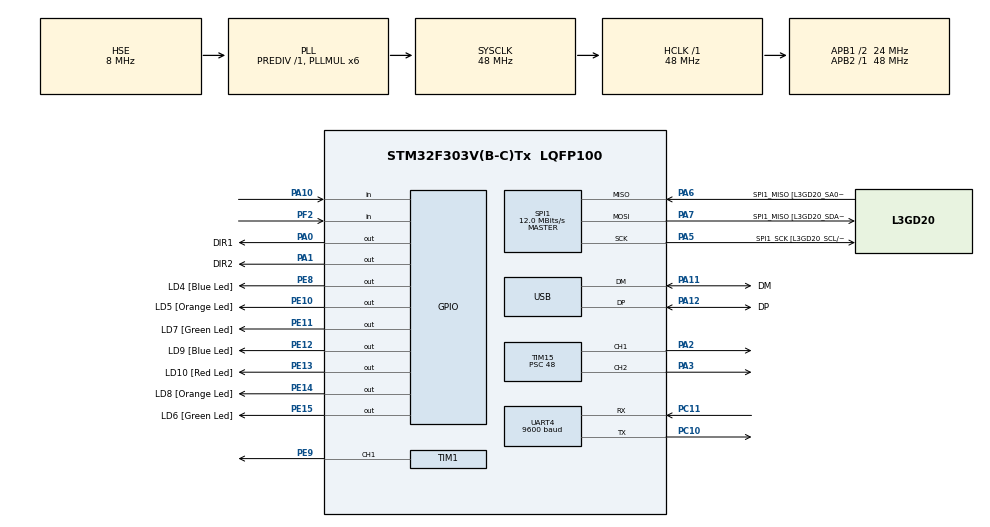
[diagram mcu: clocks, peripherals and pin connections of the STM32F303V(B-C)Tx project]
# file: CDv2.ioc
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Mcu.Family=STM32F3
Mcu.Name=STM32F303V(B-C)Tx
Mcu.Package=LQFP100
NVIC.PriorityGroup=NVIC_PRIORITYGROUP_2
NVIC.TIM1_BRK_TIM15_IRQn=true\:0\:0\:true\:false\:true\:true\:true\:true
NVIC.UART4_IRQn=true\:1\:1\:true\:false\:true\:true\:true\:true
PA0.GPIO_Label=DIR1
PA0.GPIO_PuPd=GPIO_PULLUP
PA0.Signal=GPIO_Output
PA1.GPIO_Label=DIR2 
PA1.Signal=GPIO_Output
PA10.GPIO_PuPd=GPIO_PULLUP
PA10.Signal=GPIO_Input
PA11.GPIO_Label=DM
PA11.Mode=Device
PA11.Signal=USB_DM
PA12.GPIO_Label=DP
PA12.Mode=Device
PA12.Signal=USB_DP
PA13.GPIO_Label=SWDIO
PA13.Mode=Serial_Wire
PA13.Signal=SYS_JTMS-SWDIO
PA14.GPIO_Label=SWCLK
PA14.Mode=Serial_Wire
PA14.Signal=SYS_JTCK-SWCLK
PA2.Signal=S_TIM15_CH1
PA3.Signal=S_TIM15_CH2
PA5.GPIO_Label=SPI1_SCK [L3GD20_SCL/SPC]
PA5.Mode=Full_Duplex_Master
PA5.Signal=SPI1_SCK
PA6.GPIO_Label=SPI1_MISO [L3GD20_SA0/SDO]
PA6.Mode=Full_Duplex_Master
PA6.Signal=SPI1_MISO
PA7.GPIO_Label=SPI1_MISO [L3GD20_SDA/SDI/SDO]
PA7.Mode=Full_Duplex_Master
PA7.Signal=SPI1_MOSI
PC10.Mode=Asynchronous
PC10.Signal=UART4_TX
PC11.Mode=Asynchronous
PC11.Signal=UART4_RX
PC14-OSC32_IN.Mode=LSE-External-Oscillator
PC14-OSC32_IN.Signal=RCC_OSC32_IN
PC15-OSC32_OUT.Mode=LSE-External-Oscillator
PC15-OSC32_OUT.Signal=RCC_OSC32_OUT
PE10.GPIO_Label=LD5 [Orange Led]
PE10.Signal=GPIO_Output
PE11.GPIO_Label=LD7 [Green Led]
PE11.Signal=GPIO_Output
PE12.GPIO_Label=LD9 [Blue Led]
PE12.Signal=GPIO_Output
PE13.GPIO_Label=LD10 [Red Led]
PE13.Signal=GPIO_Output
PE14.GPIO_Label=LD8 [Orange Led]
PE14.Signal=GPIO_Output
PE15.GPIO_Label=LD6 [Green Led]
PE15.Signal=GPIO_Output
PE8.GPIO_Label=LD4 [Blue Led]
PE8.Signal=GPIO_Output
PE9.Signal=S_TIM1_CH1
PF0-OSC_IN.GPIO_Label=OSC_IN
PF0-OSC_IN.Mode=HSE-External-Oscillator
PF0-OSC_IN.Signal=RCC_OSC_IN
PF1-OSC_OUT.Mode=HSE-External-Oscillator
PF1-OSC_OUT.Signal=RCC_OSC_OUT
PF2.GPIO_PuPd=GPIO_PULLUP
PF2.Signal=GPIO_Input
ProjectManager.HeapSize=0x200
ProjectManager.StackSize=0x400
ProjectManager.TargetToolchain=STM32CubeIDE
RCC.AHBFreq_Value=48000000
RCC.APB1CLKDivider=RCC_HCLK_DIV2
RCC.APB1Freq_Value=24000000
RCC.APB1TimFreq_Value=48000000
RCC.APB2Freq_Value=48000000
RCC.APB2TimFreq_Value=48000000
RCC.CortexFreq_Value=48000000
RCC.HCLKFreq_Value=48000000
RCC.HSE_VALUE=8000000
RCC.HSI_VALUE=8000000
RCC.PLLMUL=RCC_PLL_MUL6
RCC.SYSCLKFreq_VALUE=48000000
RCC.SYSCLKSourceVirtual=RCC_SYSCLKSOURCE_PLLCLK
RCC.USBFreq_Value=48000000
SH.S_TIM15_CH1.0=TIM15_CH1,PWM Generation1 CH1
SH.S_TIM15_CH2.0=TIM15_CH2,PWM Generation2 CH2
SH.S_TIM1_CH1.0=TIM1_CH1,PWM Generation1 CH1
SPI1.BaudRatePrescaler=SPI_BAUDRATEPRESCALER_4
SPI1.BaudRatePrescaler-Full_Duplex_Master=SPI_BAUDRATEPRESCALER_2
SPI1.CalculateBaudRate=12.0 MBits/s
SPI1.CalculateBaudRate-Full_Duplex_Master=24.0 MBits/s
SPI1.Direction=SPI_DIRECTION_2LINES
SPI1.Mode=SPI_MODE_MASTER
SPI1.Mode-Full_Duplex_Master=SPI_MODE_MASTER
SPI1.VirtualType=VM_MASTER
TIM1.Channel-PWM\ Generation1\ CH1=TIM_CHANNEL_1
TIM1.OCMode_PWM-PWM\ Generation1\ CH1=TIM_OCMODE_PWM2
TIM15.Channel-PWM\ Generation1\ CH1=TIM_CHANNEL_1
TIM15.Channel-PWM\ Generation2\ CH2=TIM_CHANNEL_2
TIM15.Prescaler=48
UART4.BaudRate=9600
board=STM32F3DISCOVERY

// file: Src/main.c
/* USER CODE BEGIN Header */
/**
  ******************************************************************************
  * @file           : main.c
  * @brief          : Main program body
  ******************************************************************************
  * @attention
  *
  * Copyright (c) 2026 STMicroelectronics.
  * All rights reserved.
  *
  * This software is licensed under terms that can be found in the LICENSE file
  * in the root directory of this software component.
  * If no LICENSE file comes with this software, it is provided AS-IS.
  *
  ******************************************************************************
  */
/* USER CODE END Header */
#include "main.h"

/* USER CODE BEGIN PD */
#define X 1
#define Y 0
#define pos 0
#define neg 1
/* USER CODE END PD */

SPI_HandleTypeDef hspi1;

TIM_HandleTypeDef htim1;
TIM_HandleTypeDef htim15;

UART_HandleTypeDef huart4;

PCD_HandleTypeDef hpcd_USB_FS;

void SystemClock_Config(void);
static void MX_GPIO_Init(void);
static void MX_SPI1_Init(void);
static void MX_USB_PCD_Init(void);
static void MX_TIM1_Init(void);
static void MX_TIM15_Init(void);
static void MX_UART4_Init(void);

/* USER CODE BEGIN 0 */
cmd_uart RS485_TRANSMITTER ={0};
uint8_t rx_buffer;
uint16_t crc;
station station_struct = {0};
uint8_t newline_char = '\n';

uint16_t SP = 0;
uint16_t acs_dist = 0;
uint16_t StartSpeed_count = 0;
uint16_t Delta_count = 0;
uint32_t step_counter = 0;
uint8_t dist_x = 0;
uint8_t dist_y = 0;
uint16_t crc_check = 0;
uint16_t crc_test;
/* USER CODE END 0 */

int main(void)
{

  /* MCU Configuration--------------------------------------------------------*/

  /* Reset of all peripherals, Initializes the Flash interface and the Systick. */
  HAL_Init();

  /* Configure the system clock */
  SystemClock_Config();

  /* Initialize all configured peripherals */
  MX_GPIO_Init();
  MX_SPI1_Init();
  MX_USB_PCD_Init();
  MX_TIM1_Init();
  MX_TIM15_Init();
  MX_UART4_Init();
  /* USER CODE BEGIN 2 */
  TIM15->BDTR |= TIM_BDTR_MOE;
  HAL_TIM_PWM_Stop_IT(&htim15, TIM_CHANNEL_1);    // останавливаем ШИМ по каналу 1
  HAL_TIM_PWM_Stop_IT(&htim15, TIM_CHANNEL_2);    // останавливаем ШИМ по каналу 2
  HAL_UART_Receive_IT(&huart4, &rx_buffer, 1); // включаем прерывания
  HAL_TIM_Base_Stop_IT(&htim15);				   // остановка таймера
  //HAL_NVIC_SetPriority(TIM1_BRK_TIM15_IRQn, 1, 0); // Достаточно высокий приоритет
  //HAL_NVIC_EnableIRQ(TIM1_BRK_TIM15_IRQn);
  /* USER CODE END 2 */

  /* Infinite loop */
  while (1)
  {
  }
}

void SystemClock_Config(void)
{
  RCC_OscInitTypeDef RCC_OscInitStruct = {0};
  RCC_ClkInitTypeDef RCC_ClkInitStruct = {0};
  RCC_PeriphCLKInitTypeDef PeriphClkInit = {0};

  /** Initializes the RCC Oscillators according to the specified parameters
  * in the RCC_OscInitTypeDef structure.
  */
  RCC_OscInitStruct.OscillatorType = RCC_OSCILLATORTYPE_HSE;
  RCC_OscInitStruct.HSEState = RCC_HSE_ON;
  RCC_OscInitStruct.HSEPredivValue = RCC_HSE_PREDIV_DIV1;
  RCC_OscInitStruct.HSIState = RCC_HSI_ON;
  RCC_OscInitStruct.PLL.PLLState = RCC_PLL_ON;
  RCC_OscInitStruct.PLL.PLLSource = RCC_PLLSOURCE_HSE;
  RCC_OscInitStruct.PLL.PLLMUL = RCC_PLL_MUL6;
  if (HAL_RCC_OscConfig(&RCC_OscInitStruct) != HAL_OK)
  {
    Error_Handler();
  }

  /** Initializes the CPU, AHB and APB buses clocks
  */
  RCC_ClkInitStruct.ClockType = RCC_CLOCKTYPE_HCLK|RCC_CLOCKTYPE_SYSCLK
                              |RCC_CLOCKTYPE_PCLK1|RCC_CLOCKTYPE_PCLK2;
  RCC_ClkInitStruct.SYSCLKSource = RCC_SYSCLKSOURCE_PLLCLK;
  RCC_ClkInitStruct.AHBCLKDivider = RCC_SYSCLK_DIV1;
  RCC_ClkInitStruct.APB1CLKDivider = RCC_HCLK_DIV2;
  RCC_ClkInitStruct.APB2CLKDivider = RCC_HCLK_DIV1;

  if (HAL_RCC_ClockConfig(&RCC_ClkInitStruct, FLASH_LATENCY_1) != HAL_OK)
  {
    Error_Handler();
  }
  PeriphClkInit.PeriphClockSelection = RCC_PERIPHCLK_USB|RCC_PERIPHCLK_UART4
                              |RCC_PERIPHCLK_TIM1;
  PeriphClkInit.Uart4ClockSelection = RCC_UART4CLKSOURCE_PCLK1;
  PeriphClkInit.USBClockSelection = RCC_USBCLKSOURCE_PLL;
  PeriphClkInit.Tim1ClockSelection = RCC_TIM1CLK_HCLK;
  if (HAL_RCCEx_PeriphCLKConfig(&PeriphClkInit) != HAL_OK)
  {
    Error_Handler();
  }
}

static void MX_SPI1_Init(void)
{

  /* SPI1 parameter configuration*/
  hspi1.Instance = SPI1;
  hspi1.Init.Mode = SPI_MODE_MASTER;
  hspi1.Init.Direction = SPI_DIRECTION_2LINES;
  hspi1.Init.DataSize = SPI_DATASIZE_4BIT;
  hspi1.Init.CLKPolarity = SPI_POLARITY_LOW;
  hspi1.Init.CLKPhase = SPI_PHASE_1EDGE;
  hspi1.Init.NSS = SPI_NSS_SOFT;
  hspi1.Init.BaudRatePrescaler = SPI_BAUDRATEPRESCALER_4;
  hspi1.Init.FirstBit = SPI_FIRSTBIT_MSB;
  hspi1.Init.TIMode = SPI_TIMODE_DISABLE;
  hspi1.Init.CRCCalculation = SPI_CRCCALCULATION_DISABLE;
  hspi1.Init.CRCPolynomial = 7;
  hspi1.Init.CRCLength = SPI_CRC_LENGTH_DATASIZE;
  hspi1.Init.NSSPMode = SPI_NSS_PULSE_ENABLE;
  if (HAL_SPI_Init(&hspi1) != HAL_OK)
  {
    Error_Handler();
  }

}

static void MX_TIM1_Init(void)
{

  TIM_MasterConfigTypeDef sMasterConfig = {0};
  TIM_OC_InitTypeDef sConfigOC = {0};
  TIM_BreakDeadTimeConfigTypeDef sBreakDeadTimeConfig = {0};

  htim1.Instance = TIM1;
  htim1.Init.Prescaler = 0;
  htim1.Init.CounterMode = TIM_COUNTERMODE_UP;
  htim1.Init.Period = 65535;
  htim1.Init.ClockDivision = TIM_CLOCKDIVISION_DIV1;
  htim1.Init.RepetitionCounter = 0;
  htim1.Init.AutoReloadPreload = TIM_AUTORELOAD_PRELOAD_DISABLE;
  if (HAL_TIM_PWM_Init(&htim1) != HAL_OK)
  {
    Error_Handler();
  }
  sMasterConfig.MasterOutputTrigger = TIM_TRGO_RESET;
  sMasterConfig.MasterOutputTrigger2 = TIM_TRGO2_RESET;
  sMasterConfig.MasterSlaveMode = TIM_MASTERSLAVEMODE_DISABLE;
  if (HAL_TIMEx_MasterConfigSynchronization(&htim1, &sMasterConfig) != HAL_OK)
  {
    Error_Handler();
  }
  sConfigOC.OCMode = TIM_OCMODE_PWM2;
  sConfigOC.Pulse = 0;
  sConfigOC.OCPolarity = TIM_OCPOLARITY_HIGH;
  sConfigOC.OCNPolarity = TIM_OCNPOLARITY_HIGH;
  sConfigOC.OCFastMode = TIM_OCFAST_DISABLE;
  sConfigOC.OCIdleState = TIM_OCIDLESTATE_RESET;
  sConfigOC.OCNIdleState = TIM_OCNIDLESTATE_RESET;
  if (HAL_TIM_PWM_ConfigChannel(&htim1, &sConfigOC, TIM_CHANNEL_1) != HAL_OK)
  {
    Error_Handler();
  }
  sBreakDeadTimeConfig.OffStateRunMode = TIM_OSSR_DISABLE;
  sBreakDeadTimeConfig.OffStateIDLEMode = TIM_OSSI_DISABLE;
  sBreakDeadTimeConfig.LockLevel = TIM_LOCKLEVEL_OFF;
  sBreakDeadTimeConfig.DeadTime = 0;
  sBreakDeadTimeConfig.BreakState = TIM_BREAK_DISABLE;
  sBreakDeadTimeConfig.BreakPolarity = TIM_BREAKPOLARITY_HIGH;
  sBreakDeadTimeConfig.BreakFilter = 0;
  sBreakDeadTimeConfig.Break2State = TIM_BREAK2_DISABLE;
  sBreakDeadTimeConfig.Break2Polarity = TIM_BREAK2POLARITY_HIGH;
  sBreakDeadTimeConfig.Break2Filter = 0;
  sBreakDeadTimeConfig.AutomaticOutput = TIM_AUTOMATICOUTPUT_DISABLE;
  if (HAL_TIMEx_ConfigBreakDeadTime(&htim1, &sBreakDeadTimeConfig) != HAL_OK)
  {
    Error_Handler();
  }
  HAL_TIM_MspPostInit(&htim1);

}

static void MX_TIM15_Init(void)
{

  TIM_MasterConfigTypeDef sMasterConfig = {0};
  TIM_OC_InitTypeDef sConfigOC = {0};
  TIM_BreakDeadTimeConfigTypeDef sBreakDeadTimeConfig = {0};

  htim15.Instance = TIM15;
  htim15.Init.Prescaler = 48;
  htim15.Init.CounterMode = TIM_COUNTERMODE_UP;
  htim15.Init.Period = 65535;
  htim15.Init.ClockDivision = TIM_CLOCKDIVISION_DIV1;
  htim15.Init.RepetitionCounter = 0;
  htim15.Init.AutoReloadPreload = TIM_AUTORELOAD_PRELOAD_DISABLE;
  if (HAL_TIM_PWM_Init(&htim15) != HAL_OK)
  {
    Error_Handler();
  }
  sMasterConfig.MasterOutputTrigger = TIM_TRGO_RESET;
  sMasterConfig.MasterSlaveMode = TIM_MASTERSLAVEMODE_DISABLE;
  if (HAL_TIMEx_MasterConfigSynchronization(&htim15, &sMasterConfig) != HAL_OK)
  {
    Error_Handler();
  }
  sConfigOC.OCMode = TIM_OCMODE_PWM1;
  sConfigOC.Pulse = 0;
  sConfigOC.OCPolarity = TIM_OCPOLARITY_HIGH;
  sConfigOC.OCNPolarity = TIM_OCNPOLARITY_HIGH;
  sConfigOC.OCFastMode = TIM_OCFAST_DISABLE;
  sConfigOC.OCIdleState = TIM_OCIDLESTATE_RESET;
  sConfigOC.OCNIdleState = TIM_OCNIDLESTATE_RESET;
  if (HAL_TIM_PWM_ConfigChannel(&htim15, &sConfigOC, TIM_CHANNEL_1) != HAL_OK)
  {
    Error_Handler();
  }
  if (HAL_TIM_PWM_ConfigChannel(&htim15, &sConfigOC, TIM_CHANNEL_2) != HAL_OK)
  {
    Error_Handler();
  }
  sBreakDeadTimeConfig.OffStateRunMode = TIM_OSSR_DISABLE;
  sBreakDeadTimeConfig.OffStateIDLEMode = TIM_OSSI_DISABLE;
  sBreakDeadTimeConfig.LockLevel = TIM_LOCKLEVEL_OFF;
  sBreakDeadTimeConfig.DeadTime = 0;
  sBreakDeadTimeConfig.BreakState = TIM_BREAK_DISABLE;
  sBreakDeadTimeConfig.BreakPolarity = TIM_BREAKPOLARITY_HIGH;
  sBreakDeadTimeConfig.BreakFilter = 0;
  sBreakDeadTimeConfig.AutomaticOutput = TIM_AUTOMATICOUTPUT_DISABLE;
  if (HAL_TIMEx_ConfigBreakDeadTime(&htim15, &sBreakDeadTimeConfig) != HAL_OK)
  {
    Error_Handler();
  }
  HAL_TIM_MspPostInit(&htim15);

}

static void MX_UART4_Init(void)
{

  huart4.Instance = UART4;
  huart4.Init.BaudRate = 9600;
  huart4.Init.WordLength = UART_WORDLENGTH_8B;
  huart4.Init.StopBits = UART_STOPBITS_1;
  huart4.Init.Parity = UART_PARITY_NONE;
  huart4.Init.Mode = UART_MODE_TX_RX;
  huart4.Init.HwFlowCtl = UART_HWCONTROL_NONE;
  huart4.Init.OverSampling = UART_OVERSAMPLING_16;
  huart4.Init.OneBitSampling = UART_ONE_BIT_SAMPLE_DISABLE;
  huart4.AdvancedInit.AdvFeatureInit = UART_ADVFEATURE_NO_INIT;
  if (HAL_UART_Init(&huart4) != HAL_OK)
  {
    Error_Handler();
  }

}

static void MX_USB_PCD_Init(void)
{

  hpcd_USB_FS.Instance = USB;
  hpcd_USB_FS.Init.dev_endpoints = 8;
  hpcd_USB_FS.Init.speed = PCD_SPEED_FULL;
  hpcd_USB_FS.Init.phy_itface = PCD_PHY_EMBEDDED;
  hpcd_USB_FS.Init.low_power_enable = DISABLE;
  hpcd_USB_FS.Init.battery_charging_enable = DISABLE;
  if (HAL_PCD_Init(&hpcd_USB_FS) != HAL_OK)
  {
    Error_Handler();
  }

}

static void MX_GPIO_Init(void)
{
  GPIO_InitTypeDef GPIO_InitStruct = {0};

  /* GPIO Ports Clock Enable */
  __HAL_RCC_GPIOC_CLK_ENABLE();
  __HAL_RCC_GPIOF_CLK_ENABLE();
  __HAL_RCC_GPIOA_CLK_ENABLE();
  __HAL_RCC_GPIOE_CLK_ENABLE();

  /*Configure GPIO pin Output Level */
  HAL_GPIO_WritePin(GPIOA, DIR1_Pin|DIR2_Pin, GPIO_PIN_RESET);

  /*Configure GPIO pin Output Level */
  HAL_GPIO_WritePin(GPIOE, LD4_Pin|LD5_Pin|LD7_Pin|LD9_Pin
                          |LD10_Pin|LD8_Pin|LD6_Pin, GPIO_PIN_RESET);

  /*Configure GPIO pin : PF2 */
  GPIO_InitStruct.Pin = GPIO_PIN_2;
  GPIO_InitStruct.Mode = GPIO_MODE_INPUT;
  GPIO_InitStruct.Pull = GPIO_PULLUP;
  HAL_GPIO_Init(GPIOF, &GPIO_InitStruct);

  /*Configure GPIO pin : DIR1_Pin */
  GPIO_InitStruct.Pin = DIR1_Pin;
  GPIO_InitStruct.Mode = GPIO_MODE_OUTPUT_PP;
  GPIO_InitStruct.Pull = GPIO_PULLUP;
  GPIO_InitStruct.Speed = GPIO_SPEED_FREQ_LOW;
  HAL_GPIO_Init(DIR1_GPIO_Port, &GPIO_InitStruct);

  /*Configure GPIO pin : DIR2_Pin */
  GPIO_InitStruct.Pin = DIR2_Pin;
  GPIO_InitStruct.Mode = GPIO_MODE_OUTPUT_PP;
  GPIO_InitStruct.Pull = GPIO_NOPULL;
  GPIO_InitStruct.Speed = GPIO_SPEED_FREQ_LOW;
  HAL_GPIO_Init(DIR2_GPIO_Port, &GPIO_InitStruct);

  /*Configure GPIO pins : LD4_Pin LD5_Pin LD7_Pin LD9_Pin
                           LD10_Pin LD8_Pin LD6_Pin */
  GPIO_InitStruct.Pin = LD4_Pin|LD5_Pin|LD7_Pin|LD9_Pin
                          |LD10_Pin|LD8_Pin|LD6_Pin;
  GPIO_InitStruct.Mode = GPIO_MODE_OUTPUT_PP;
  GPIO_InitStruct.Pull = GPIO_NOPULL;
  GPIO_InitStruct.Speed = GPIO_SPEED_FREQ_LOW;
  HAL_GPIO_Init(GPIOE, &GPIO_InitStruct);

  /*Configure GPIO pin : PA10 */
  GPIO_InitStruct.Pin = GPIO_PIN_10;
  GPIO_InitStruct.Mode = GPIO_MODE_INPUT;
  GPIO_InitStruct.Pull = GPIO_PULLUP;
  HAL_GPIO_Init(GPIOA, &GPIO_InitStruct);

}

/* USER CODE BEGIN 4 */
uint8_t direction(uint8_t axis /*0-x 1-y*/, uint8_t dir){
	if(axis == X && dir == pos){
		HAL_GPIO_WritePin(DIR1_GPIO_Port, DIR1_Pin, GPIO_PIN_SET);
		HAL_GPIO_WritePin(DIR2_GPIO_Port, DIR2_Pin, GPIO_PIN_SET);
	}
	if(axis == X && dir == neg){
		HAL_GPIO_WritePin(DIR1_GPIO_Port, DIR1_Pin, GPIO_PIN_RESET);
		HAL_GPIO_WritePin(DIR2_GPIO_Port, DIR2_Pin, GPIO_PIN_RESET);
	}
	if(axis == Y && dir == pos){
		HAL_GPIO_WritePin(DIR1_GPIO_Port, DIR1_Pin, GPIO_PIN_SET);
		HAL_GPIO_WritePin(DIR2_GPIO_Port, DIR2_Pin, GPIO_PIN_RESET);
	}
	if(axis == Y && dir == neg){
		HAL_GPIO_WritePin(DIR1_GPIO_Port, DIR1_Pin, GPIO_PIN_RESET);
		HAL_GPIO_WritePin(DIR2_GPIO_Port, DIR2_Pin, GPIO_PIN_SET);
	}
	return 1;
}

uint16_t CRC16_calc(uint8_t* data, size_t length) {
    uint16_t crc = 0xFFFF; // Начальное значение (может быть 0xFFFF)

    for (size_t i = 0; i < length; i++) {
        // XOR текущего байта со старшим байтом CRC
        crc ^= (uint16_t)data[i];

        // Обрабатываем каждый бит байта
        for (int bit = 0; bit < 8; bit++) {
            if (crc & 0x0001) {
                // Если младший бит = 1, сдвигаем и XOR с полиномом
                crc = (crc >> 1) ^ 0xA001;
            } else {
                // Иначе просто сдвигаем
                crc >>= 1;
            }
        }
    }

    return crc;
}

uint16_t crc16_update(uint16_t crc, uint8_t data)
{
    crc ^= data;
    for (int i = 0; i < 8; ++i)
    {
        if (crc & 1)
            crc = (crc >> 1) ^ 0xA001;  // полином для CRC-16/MODBUS
        else
            crc = (crc >> 1);
    }
    return crc;
}

uint16_t crc16_modbus(uint8_t *buf, uint32_t len)
{
    uint16_t crc = 0xFFFF;            // стартовое значение для MODBUS
    for (uint32_t i = 0; i < len; ++i)
    {
        crc = crc16_update(crc, buf[i]);
    }
    return crc;                       // результат: младший байт, затем старший
}

uint8_t DataRecive(cmd_uart* structure, uint8_t symbol){
	//прием байта адреса устройства
	structure->frame[structure->ccnt] = symbol;
	if (structure->ccnt == 0){
		structure->dev_addr = symbol;
	}
	//прием двух байт команды
	if (structure -> ccnt == 1){
		structure->cmd[0] = symbol;
	}
	if (structure -> ccnt == 2){
		structure->cmd[1] = symbol;
	}
	//прием двух байт адреса регистра
	if (structure -> ccnt == 3){
		structure-> reg[0] = symbol;
	}
	if (structure -> ccnt == 4){
		structure-> reg[1] = symbol;
	}
	//прием двух байт данных
	if (structure -> ccnt == 5){
		structure-> value[0] = symbol;
	}
	if (structure -> ccnt == 6){
		structure-> value[1] = symbol;
	}
	//прием CRC
	if (structure -> ccnt == 7){
		structure-> CRC16[0] = symbol;
	}
	if (structure -> ccnt == 8){
		structure-> CRC16[1] = symbol;
	}
	structure->ccnt++;
	if(structure->ccnt == 9) {
		structure->ccnt = 0;
		structure->data_update = 1;
	}
	return 1;
}
uint8_t proceed(station * station_structure, cmd_uart * RS485_structure){
	//uint8_t crc[2] = {0};
	if(RS485_structure->dev_addr == 52){
		if(RS485_structure ->cmd[0] == 0){ //проверяем первый 0
			if(RS485_structure ->cmd[1] == 1){ //запись
				if(RS485_structure->reg[0] == 0){ //проверяем, что первый 0 в адресе регистра
					switch(RS485_structure->reg[1]){
					case 1:
						station_structure->velocity = RS485_TRANSMITTER.value[1] + (RS485_TRANSMITTER.value[0] * 100);
						break;
					case 2:
						station_structure->time_acs = RS485_TRANSMITTER.value[1] + (RS485_TRANSMITTER.value[0] * 100);
						break;
					case 3:
						station_structure->axis = (RS485_TRANSMITTER.value[1]);
						station_structure->dir = (RS485_TRANSMITTER.value[0]);
						direction(station_structure->axis, station_structure->dir);
						break;
					case 4:
						step_counter = 0;
						TIM15 -> ARR  = 5000;
						TIM15 -> CCR1 = 2500;
						TIM15 -> CCR2 = 2500;
						station_structure-> x_home = 0;
						dist_x = 0;
						station_structure->status = 2;
						HAL_TIM_PWM_Start_IT(&htim15, TIM_CHANNEL_1);    // зайпускаем ШИМ по каналу 1
						HAL_TIM_PWM_Start_IT(&htim15, TIM_CHANNEL_2);    // зайпускаем ШИМ по каналу 2
						HAL_TIM_Base_Start_IT(&htim15);				  // Запускаем таймер
						break;
					case 5:
						step_counter = 0;
						TIM15 -> ARR  = 5000;
						TIM15 -> CCR1 = 2500;
						TIM15 -> CCR2 = 2500;
						station_structure-> y_home = 0;
						dist_y = 0;
						station_structure->status = 3;
						HAL_TIM_PWM_Start_IT(&htim15, TIM_CHANNEL_1);    // зайпускаем ШИМ по каналу 1
						HAL_TIM_PWM_Start_IT(&htim15, TIM_CHANNEL_2);    // зайпускаем ШИМ по каналу 2
						HAL_TIM_Base_Start_IT(&htim15);				  // Запускаем таймер
						break;
					case 6:
						HAL_TIM_PWM_Stop_IT(&htim15, TIM_CHANNEL_1);    // зайпускаем ШИМ по каналу 1
						HAL_TIM_PWM_Stop_IT(&htim15, TIM_CHANNEL_2);    // зайпускаем ШИМ по каналу 2
						HAL_TIM_Base_Stop_IT(&htim15);
						step_counter = 0;
						station_struct.status = 0;
						break;
					case 7:
						//ДВИЖЕНИЕ
						//Счетчик шагов
					    step_counter = 0;
					    if(RS485_structure->value[1] == 0){
					    	station_structure->status = 1;//движение с ускорением
					    }
					    if(RS485_structure->value[1] == 1){
					    	TIM15 -> ARR = 5000;
							TIM15 -> CCR1 = 2500;
							TIM15 -> CCR2 = 2500;
					    	station_structure->status = 4; //перемещение до кооридинаты
						}
					    if(RS485_structure->value[1] == 2){
							SP = 1000000/station_structure->velocity;//частота инкреммента / скорость
							//расчет ускорения
							//расстояние за время ускорения (шагов) - перевод в шагов в мс
							acs_dist = (station_structure->velocity*station_structure->time_acs)/2000; /* трапецивидный профиль /‾\ => получим на ускорении прямоугольный ипеугольник, тогда v*tacs/2 */
							//Расчитываем шаг скорости на один шаг двигателя
							StartSpeed_count = 5000;
							Delta_count = (StartSpeed_count - SP)/acs_dist + 1;
							station_structure->status = 5; //перемещение по алгоритму(меандр)
							station_structure->external_progress = 0;
							station_structure->internal_progress = 0;
							TIM15 -> ARR = 5000;
							TIM15 -> CCR1 = 2500;
							TIM15 -> CCR2 = 2500;
						}
						HAL_TIM_PWM_Start_IT(&htim15, TIM_CHANNEL_1);    // останавливаем ШИМ по каналу 1
						HAL_TIM_PWM_Start_IT(&htim15, TIM_CHANNEL_2);    // останавливаем ШИМ по каналу 2
						HAL_TIM_Base_Start_IT(&htim15);				  // Запускаем таймер
						break;
					case 8:
						station_structure->height = RS485_TRANSMITTER.value[1] + (RS485_TRANSMITTER.value[0] * 100);
						break;
					case 9:
						station_structure->width = RS485_TRANSMITTER.value[1] + (RS485_TRANSMITTER.value[0] * 100);
						break;
					case 0:
						station_structure->repetition = RS485_TRANSMITTER.value[1] + (RS485_TRANSMITTER.value[0] * 100);
						break;
					}
					HAL_UART_Transmit(&huart4, RS485_TRANSMITTER.frame, 9, HAL_MAX_DELAY);
					//HAL_UART_Transmit(&huart4, &newline_char, 1, HAL_MAX_DELAY);
				}
				if(RS485_structure->reg[0] == 1){ //проверяем, что первый 1 в адресе регистра
					switch(RS485_structure->reg[1]){
					case 0:
						station_structure->coordinate = RS485_TRANSMITTER.value[1] + (RS485_TRANSMITTER.value[0] * 100);
					break;
					}
					HAL_UART_Transmit(&huart4, RS485_TRANSMITTER.frame, 9, HAL_MAX_DELAY);
				}
			}
			if(RS485_structure ->cmd[1] == 4){
				if(RS485_structure->reg[0] == 0){
					switch(RS485_structure->reg[1]){
					case 1:
						RS485_structure->frame[5]  = station_structure->velocity/100;
						RS485_structure->frame[6]  = station_structure->velocity%100;
					break;
					case 2:
						RS485_structure->frame[5]  =  station_structure->time_acs/100;
						RS485_structure->frame[6]  =  station_structure->time_acs%100;
					break;
					case 3:
						RS485_structure->frame[5]  =  station_structure->axis;
						RS485_structure->frame[6]  =  station_structure->dir;
					break;
					case 4:
						RS485_structure->frame[5]  =  station_structure->coordinate/100;
						RS485_structure->frame[6]  =  station_structure->coordinate%100;
					break;
					case 5:
						RS485_structure->frame[5] = 0;
						if(HAL_GPIO_ReadPin(GPIOA, GPIO_PIN_10) == GPIO_PIN_SET){
							RS485_structure->frame[6] = 1;
						}else{
							RS485_structure->frame[6] = 0;
						}
					break;
					case 6:
						RS485_structure->frame[5]  =  station_structure->x_home;;
						RS485_structure->frame[6]  =  station_structure->y_home;
					break;
					case 7:
						RS485_structure->frame[5]  =  station_structure->axis;
						RS485_structure->frame[6]  =  station_structure->dir;
					break;
					case 8:
						RS485_structure->frame[5]  = 0;
						RS485_structure->frame[6]  = TIM15->CR1 & TIM_CR1_CEN;
					break;
					}
				}
				HAL_UART_Transmit(&huart4, RS485_structure->frame, 9, HAL_MAX_DELAY);
				//HAL_UART_Transmit(&huart4, &newline_char, 1, HAL_MAX_DELAY);
			}
		}
	}
	return 1;
}
/* USER CODE END 4 */

void Error_Handler(void)
{
  __disable_irq();
  while (1)
  {
  }
}
